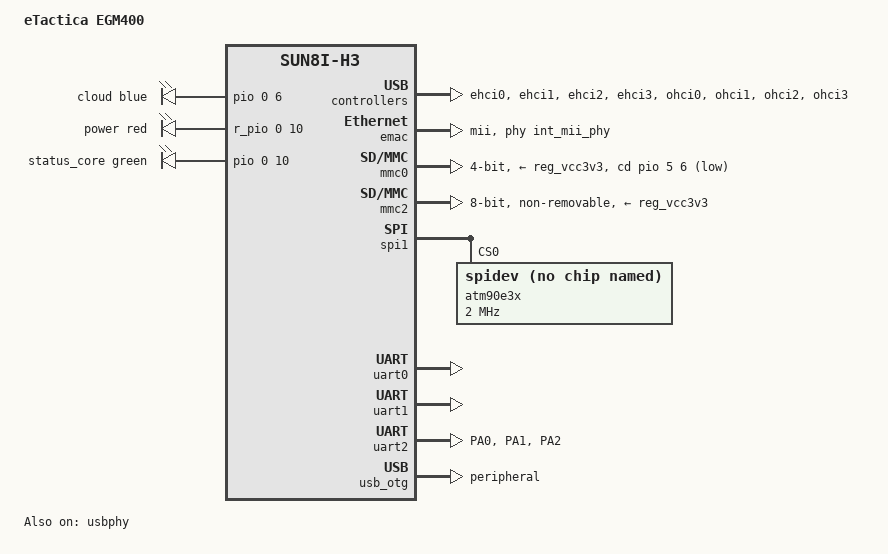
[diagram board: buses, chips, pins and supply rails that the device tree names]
// SPDX-License-Identifier: (GPL-2.0+ OR MIT)
/dts-v1/;
#include "sun8i-h3.dtsi"
#include "sunxi-common-regulators.dtsi"

#include <dt-bindings/gpio/gpio.h>
#include <dt-bindings/leds/common.h>

/ {
	model = "eTactica EGM400";
	compatible = "etactica,egm400", "allwinner,sun8i-h3";

	aliases {
		ethernet0 = &emac;
		serial0 = &uart0;
	};

	chosen {
		stdout-path = "serial0:115200n8";
	};

	leds {
		compatible = "gpio-leds";

		cloud {
			color = <LED_COLOR_ID_BLUE>;
			gpios = <&pio 0 6 GPIO_ACTIVE_HIGH>;
		};

		/* Internal, not visible */
		power {
			color = <LED_COLOR_ID_RED>;
			function = LED_FUNCTION_POWER;
			gpios = <&r_pio 0 10 GPIO_ACTIVE_HIGH>;
			default-state = "off";
		};

		/* Internal, not visible */
		status_core {
			color = <LED_COLOR_ID_GREEN>;
			gpios = <&pio 0 10 GPIO_ACTIVE_HIGH>;
		};
			
	};
};

/* All four usb ports are in use */
&ehci0 {
	status = "okay";
};

&ehci1 {
	status = "okay";
};

&ehci2 {
	status = "okay";
};

&ehci3 {
	status = "okay";
};

&emac {
	phy-handle = <&int_mii_phy>;
	phy-mode = "mii";
	allwinner,leds-active-low;
	status = "okay";
};

&mmc0 {
	vmmc-supply = <&reg_vcc3v3>;
	bus-width = <4>;
	cd-gpios = <&pio 5 6 GPIO_ACTIVE_LOW>; /* PF6 */
	status = "okay";
};

&mmc2 {
	pinctrl-names = "default";
	pinctrl-0 = <&mmc2_8bit_pins>;
	vmmc-supply = <&reg_vcc3v3>;
	vqmmc-supply = <&reg_vcc3v3>;
	bus-width = <8>;
	non-removable;
	status = "okay";
};

&ohci0 {
	status = "okay";
};

&ohci1 {
	status = "okay";
};

&ohci2 {
	status = "okay";
};

&ohci3 {
	status = "okay";
};

&pio {
	uart2_rs485_pins: uart2-rs495-pins {
		pins = "PA0", "PA1", "PA2";
		function = "uart2";
	};

	/*
	 * PA11 == modem power key
	 * PA12 == modem reset
	 * PA17 == modem power enable
	 *
	 * PE12 == rs485 bus power enable
	 *
	 * PA18 == Digital in1
	 * PA19 == Digital in0
	 * PA20 == Digital out0
	 * PA21 == Digital out1
	 *
	 * PA3 == SPI IRQ
	 * PL11 == meter zx
	 */
};

&reg_usb0_vbus {
	gpio = <&r_pio 0 2 GPIO_ACTIVE_HIGH>; /* PL2 */
	status = "okay";
};

&spi1 {
	status = "okay";

	atm90e3x@0 {
		reg = <0>;
		compatible = "linux,spidev";
		/* Nominally 2.28MHz */
		spi-max-frequency = <2000000>;
	};
};

/* internal console port */
&uart0 {
	pinctrl-names = "default";
	pinctrl-0 = <&uart0_pa_pins>;
	status = "okay";
};

/* debug uart to modem */
&uart1 {
	pinctrl-names = "default";
	pinctrl-0 = <&uart1_pins>;
	status = "okay";
};

/* rs485 port */
&uart2 {
	pinctrl-names = "default";
	/* actually only using the RTS pin, but this will do */
	//pinctrl-0 = <&uart2_pins>, <&uart2_rts_cts_pins>;
	//uart-has-rtscts;
	// Or, uart2_pa_pins plus "rts-gpios" with a single rts?
	pinctrl-0 = <&uart2_rs485_pins>;
	status = "okay";
};

&usb_otg {
	status = "okay";
	dr_mode = "peripheral";
};

&usbphy {
	usb0_id_det-gpios = <&pio 6 12 GPIO_ACTIVE_HIGH>; /* PG12 */
	usb0_vbus-supply = <&reg_usb0_vbus>;
        /* VBUS on USB host ports are always on */
	status = "okay";
};

